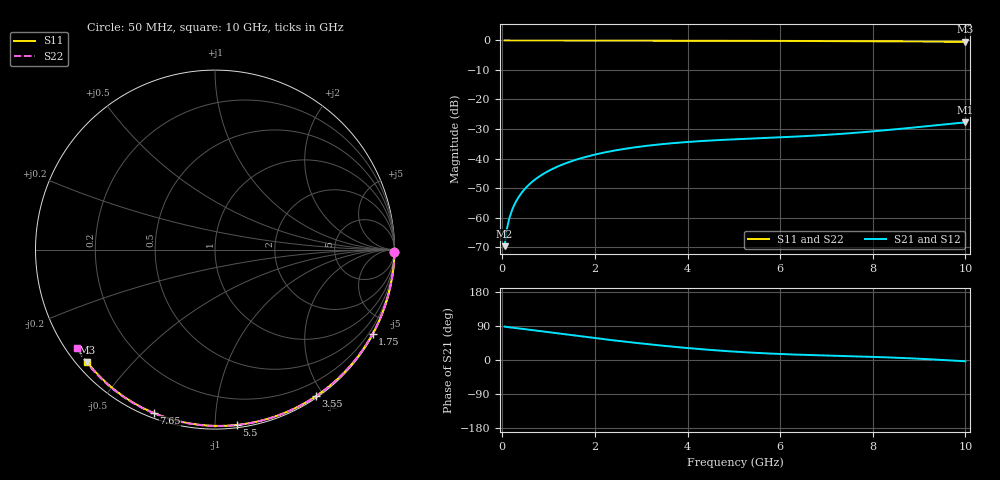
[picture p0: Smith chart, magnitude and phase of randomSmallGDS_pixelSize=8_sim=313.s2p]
! freq	dB(S11)	phase(S11)	dB(S12)	phase(S12)
!  dB(S21)	phase(S21)	dB(S22)	phase(S22)
!S-par simulation data
#  GHz  S  DB  R 50
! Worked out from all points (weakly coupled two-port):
!   200 points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, 50 MHz to 10 GHz, reference 50 ohm
!   highest |S21| = -27.75 dB at 10 GHz (marker M1); lowest = -69.7 dB at 50 MHz (marker M2)
!   lowest |S11| = -0.5 dB at 10 GHz (marker M3), VSWR 37.63, Z = 1.52 - j18.8 ohm
!   |S11| at or under -10 dB: nowhere
!   |S22| runs from -0.5 to 0.0 dB; largest |S21 - S12| = 0
!   S11 on the Smith chart (normalised r, x): 50 MHz: open; 1.75 GHz: 0.04, -4.00; 3.55 GHz: 0.02, -1.90; 5.5 GHz: 0.02, -1.13; 7.65 GHz: 0.02, -0.69; 10 GHz: 0.03, -0.38
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0.05  -0.00 -0.8  -69.71 88.2  -69.71 88.2  -0.00 -0.9
0.1  -0.00 -1.6  -63.80 87.0  -63.80 87.0  -0.00 -1.7
0.15  -0.00 -2.5  -60.36 86.2  -60.36 86.2  -0.00 -2.6
0.2  -0.00 -3.3  -57.91 85.5  -57.91 85.5  -0.00 -3.4
0.25  -0.00 -4.1  -56.01 84.8  -56.01 84.8  -0.00 -4.3
0.35  -0.00 -5.7  -53.13 83.4  -53.13 83.4  -0.00 -6.0
0.5  -0.01 -8.1  -50.07 81.2  -50.07 81.2  -0.01 -8.5
0.7  -0.01 -11.4  -47.20 78.0  -47.20 78.0  -0.01 -11.9
1  -0.02 -16.2  -44.20 73.3  -44.20 73.3  -0.02 -16.9
1.35  -0.03 -21.8  -41.73 67.8  -41.73 67.8  -0.03 -22.7
1.75  -0.04 -28.1  -39.68 61.6  -39.68 61.6  -0.04 -29.3
2.5  -0.05 -39.7  -37.09 50.5  -37.09 50.5  -0.05 -41.5
3.4  -0.07 -53.3  -35.21 38.5  -35.21 38.5  -0.07 -55.6
3.55  -0.08 -55.5  -34.98 36.7  -34.98 36.7  -0.08 -57.9
4.3  -0.10 -66.4  -34.09 28.4  -34.09 28.4  -0.10 -69.1
5.05  -0.12 -76.9  -33.47 21.8  -33.47 21.8  -0.12 -80.0
5.5  -0.14 -83.0  -33.16 18.7  -33.16 18.7  -0.14 -86.3
6.7  -0.19 -98.7  -32.27 12.9  -32.27 12.9  -0.20 -102.6
7.65  -0.25 -110.6  -31.26 9.6  -31.26 9.6  -0.26 -115.0
8.35  -0.30 -119.1  -30.31 6.8  -30.31 6.8  -0.31 -123.9
9.2  -0.38 -129.3  -29.01 2.1  -29.01 2.1  -0.39 -134.5
10  -0.46 -138.7  -27.75 -3.4  -27.75 -3.4  -0.48 -144.5
